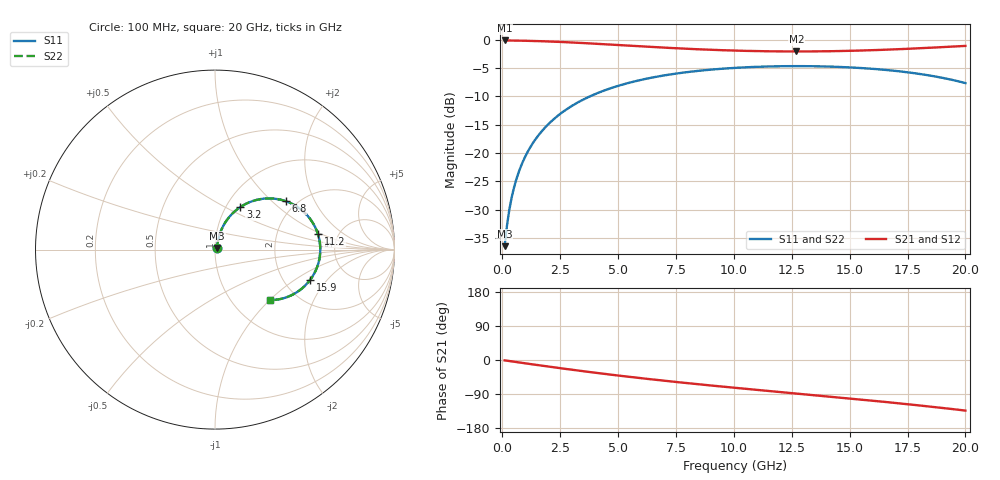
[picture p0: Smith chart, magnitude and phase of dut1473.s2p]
! Touchstone file exported from HFSS 2026.1.0
!  File:  C:/ffzhzh/LocalFiles/Ansys_Project_Files/temp_train_TSV_RDL_1473_1783361836_50076.aedt
!  Generated:  02:28:24 AM Jul  7, 2026
!  Design:  TSV_RDL
!  Project:  temp_train_TSV_RDL_1473_1783361836_50076
! Variables:
!  h_bsmrdl = 4.86um
!  h_ox = 20um
!  h_rdl = 5um
!  h_sub = 83.16um
!  h_tmrdl = 3.43um
!  h_tsv = 83.16um
!  h_via = 3um
!  l_bsmrdl = 198.86um
!  l_sub = 2244.5um
!  l_tmrdl = 286.18um
!  m_sub = 200um
!  pitch = 54.59um
!  r_tsv = 6.54um
!  s_tmrdl = 10um
!  w_bsmrdl = 11.14um
!  w_sub = 500um
!  w_tmrdl = 23.26um
!  x_tsv_center1 = 297.81um
!  x_tsv_center2 = 507.81um
!  x_tsv_center3 = 817.25um
!  x_tsv_center4 = 1027.25um
!  x_tsv_center5 = 1336.69um
!  x_tsv_center6 = 1546.69um
# GHz S MA R 50.000000
! Terminal data exported
! Port[1] = TM_RDL1_1_T1
! Port[2] = TM_RDL5_1_T1
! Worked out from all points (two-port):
!   200 points, 100 MHz to 20 GHz, reference 50 ohm
!   highest |S21| = -0.10 dB at 100 MHz (marker M1); lowest = -2.0 dB at 12.7 GHz (marker M2)
!   |S21| within 3 dB of the highest: start of sweep to end of sweep
!   lowest |S11| = -36.4 dB at 100 MHz (marker M3), VSWR 1.03, Z = 51.2 + j0.985 ohm
!   |S11| at or under -10 dB: start of sweep to 3.774 GHz
!   |S22| runs from -36.4 to -4.6 dB; largest |S21 - S12| = 4e-14
!   S11 on the Smith chart (normalised r, x): 100 MHz: 1.02, +0.02; 3.2 GHz: 1.16, +0.60; 6.8 GHz: 1.76, +1.23; 11.2 GHz: 3.51, +0.91; 15.9 GHz: 2.78, -1.35; 20 GHz: 1.47, -1.00
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0.1  0.01505 39.8  0.9885 -0.9  0.9885 -0.9  0.01505 39.8
! Gamma 0 0 0 0
! Port Impedance 50 0 50 0
0.2  0.02269 57.1  0.9881 -1.8  0.9881 -1.8  0.02269 57.1
0.3  0.03128 64.6  0.9875 -2.7  0.9875 -2.7  0.03128 64.6
0.4  0.04011 68.5  0.9869 -3.6  0.9869 -3.6  0.04011 68.5
0.7  0.06703 72.6  0.9848 -6.2  0.9848 -6.2  0.06703 72.6
1  0.09399 72.9  0.9821 -8.8  0.9821 -8.8  0.09399 72.9
1.4  0.1295 71.4  0.9775 -12.3  0.9775 -12.3  0.1295 71.4
1.9  0.1725 68.5  0.9701 -16.6  0.9701 -16.6  0.1725 68.5
2.5  0.2219 64.3  0.9592 -21.6  0.9592 -21.6  0.2219 64.3
3.2  0.2756 59.2  0.9444 -27.3  0.9444 -27.3  0.2756 59.2
3.5  0.2972 57.0  0.9376 -29.6  0.9376 -29.6  0.2972 57.0
5  0.3924 46.3  0.901 -41.0  0.901 -41.0  0.3924 46.3
6.8  0.4781 34.3  0.8584 -53.4  0.8584 -53.4  0.4781 34.3
8.5  0.5337 23.8  0.8255 -64.2  0.8255 -64.2  0.5337 23.8
10.1  0.5668 14.6  0.8038 -73.7  0.8038 -73.7  0.5668 14.6
11.2  0.58 8.5  0.7947 -80.0  0.7947 -80.0  0.58 8.5
12.7  0.5866 0.3  0.7901 -88.5  0.7901 -88.5  0.5867 0.3
13.4  0.5853 -3.5  0.791 -92.4  0.791 -92.4  0.5853 -3.6
15.9  0.5569 -17.5  0.81 -106.8  0.81 -106.8  0.5569 -17.5
16.7  0.5393 -22.1  0.821 -111.7  0.821 -111.7  0.5394 -22.1
18.5  0.4828 -33.0  0.8529 -123.1  0.8529 -123.1  0.4828 -33.1
20  0.4153 -42.7  0.8847 -133.5  0.8847 -133.5  0.4153 -42.8
